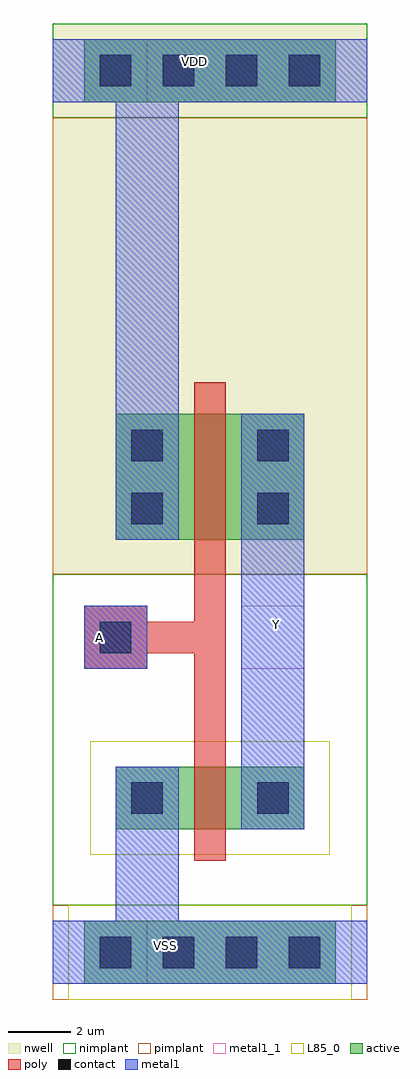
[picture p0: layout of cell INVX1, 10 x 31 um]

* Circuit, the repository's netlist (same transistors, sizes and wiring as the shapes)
* +++++++++++++++++++++++++++++++++++++++++++++++++++++++++ *
* CDL Netlist:                                              *
*                                                           *
* Cell Name  : INVX1                                        *
* Netlisted  : Sat Sep 25 10:26:10 2021                     *
* PVS Version: 16.15-s010 Fri Jun 28 22:24:07 PDT 2019      *
* +++++++++++++++++++++++++++++++++++++++++++++++++++++++++ *
*.LDD
*.DEVTMPLT 0 MN(nmos4) _nmos1v ndiff_conn(D) poly_conn(G) ndiff_conn(S) psubstrate(B)
*.DEVTMPLT 1 MP(pmos4) _pmos1v pdiff_conn(D) poly_conn(G) pdiff_conn(S) nwell_conn(B)

* +++++++++++++++++++++++++++++++++++++++++++++++++++++++++ *
* Sub cell: nmos4_CDNS_4                                    *
* +++++++++++++++++++++++++++++++++++++++++++++++++++++++++ *
.subckt nmos4_CDNS_4 1 2 3
** N=3 EP=3 FDC=1
M0 1 3 2 2 nmos4 L=1e-06 W=2e-06 AD=5e-12 AS=5e-12 PD=9e-06 PS=9e-06 fw=2e-06 sa=2e-06 sb=2e-06 $X=7000 $Y=2000 $dt=0
.ends nmos4_CDNS_4

* +++++++++++++++++++++++++++++++++++++++++++++++++++++++++ *
* Sub cell: pmos4_CDNS_5                                    *
* +++++++++++++++++++++++++++++++++++++++++++++++++++++++++ *
.subckt pmos4_CDNS_5 1 2 3
** N=3 EP=3 FDC=1
M0 1 3 2 2 pmos4 L=1e-06 W=4e-06 AD=1e-11 AS=1e-11 PD=1.3e-05 PS=1.3e-05 fw=4e-06 sa=2e-06 sb=2e-06 $X=7000 $Y=2000 $dt=1
.ends pmos4_CDNS_5

* +++++++++++++++++++++++++++++++++++++++++++++++++++++++++ *
* Sub cell: INVX1                                           *
* +++++++++++++++++++++++++++++++++++++++++++++++++++++++++ *
.subckt INVX1 A VDD VSS Y
** N=4 EP=4 FDC=2
X0 Y VSS A nmos4_CDNS_4 $T=2000 5800 0 0 $X=2000 $Y=5800
X1 Y VDD A pmos4_CDNS_5 $T=2000 24200 0 0 $X=2000 $Y=24200
.ends INVX1

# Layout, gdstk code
import gdstk
lib = gdstk.Library(unit=1e-6, precision=5e-10)
def R(c, l, rs):  # rectangles x0, y0, x1, y1
    for r in rs: c.add(gdstk.rectangle(r[:2], r[2:], *l))
def A(c, l, x, y, w, h, nx, ny, dx, dy):  # array of equal rectangles
    R(c, l, [(x+i*dx, y+j*dy, x+i*dx+w, y+j*dy+h) for i in range(nx) for j in range(ny)])
active = (1, 0)
nwell = (2, 0)
poly = (3, 0)
nimplant = (4, 0)
pimplant = (5, 0)
contact = (6, 0)
metal1 = (7, 0)
metal1_1 = (7, 1)
L85_0 = (85, 0)

nmos4_cdns_4 = lib.new_cell('nmos4_CDNS_4')
R(nmos4_cdns_4, active, [(1,1,7,3)])
R(nmos4_cdns_4, poly, [(3.5,0,4.5,4), (3.6,3.4,4.4,3.9)])
R(nmos4_cdns_4, nimplant, [(0,0,8,4)])
R(nmos4_cdns_4, contact, [(1.5,1.5,2.5,2.5), (5.5,1.5,6.5,2.5)])
R(nmos4_cdns_4, metal1, [(1,1,3,3), (5,1,7,3), (1.3,1.3,2.7,2.7), (5.3,1.3,6.7,2.7)])
R(nmos4_cdns_4, L85_0, [(0.2,0.2,7.8,3.8)])

pmos4_cdns_5 = lib.new_cell('pmos4_CDNS_5')
R(pmos4_cdns_5, active, [(1,1,7,5)])
R(pmos4_cdns_5, nwell, [(0.2,0.2,7.8,5.8)])
R(pmos4_cdns_5, poly, [(3.5,0,4.5,6), (3.6,5.5,4.4,5.9)])
R(pmos4_cdns_5, pimplant, [(0,0,8,6)])
R(pmos4_cdns_5, contact, [(1.5,1.5,2.5,2.5), (5.5,1.5,6.5,2.5), (1.5,3.5,2.5,4.5), (5.5,3.5,6.5,4.5)])
R(pmos4_cdns_5, metal1, [(1,1,3,5), (5,1,7,5), (1.3,1.3,2.7,2.7), (5.3,1.3,6.7,2.7)])

m1_psub_cdns_1 = lib.new_cell('M1_PSUB_CDNS_1')
R(m1_psub_cdns_1, active, [(-4,-1,4,1)])
R(m1_psub_cdns_1, pimplant, [(-4.5,-1.5,4.5,1.5)])
A(m1_psub_cdns_1, contact, -3.5, -0.5, 1, 1, 4, 1, 2, 0)
R(m1_psub_cdns_1, metal1, [(-4,-1,4,1)])
R(m1_psub_cdns_1, L85_0, [(-4.5,-1.5,4.5,1.5)])

m1_nwell_cdns_2 = lib.new_cell('M1_NWELL_CDNS_2')
R(m1_nwell_cdns_2, active, [(-4,-1,4,1)])
R(m1_nwell_cdns_2, nwell, [(-4.5,-1.5,4.5,1.5)])
R(m1_nwell_cdns_2, nimplant, [(-4.5,-1.5,4.5,1.5)])
A(m1_nwell_cdns_2, contact, -3.5, -0.5, 1, 1, 4, 1, 2, 0)
R(m1_nwell_cdns_2, metal1, [(-4,-1,4,1)])

m1_po_cdns_3 = lib.new_cell('M1_PO_CDNS_3')
R(m1_po_cdns_3, poly, [(-1,-1,1,1)])
R(m1_po_cdns_3, contact, [(-0.5,-0.5,0.5,0.5)])
R(m1_po_cdns_3, metal1, [(-1,-1,1,1)])

invx1 = lib.new_cell('INVX1')
R(invx1, nwell, [(0,12,10,29.5)])
R(invx1, nimplant, [(0,1.5,10,12), (0,26.5,10,29.5)])
R(invx1, pimplant, [(0,-1.5,10,1.5), (0,12,10,26.5)])
R(invx1, metal1, [(0,-1,10,1), (2,0,4,4.6), (6,5.5,8,13.5), (1,9,3,11), (2,16,4,28.5), (0,27,10,29)])
R(invx1, metal1_1, [(1,-1,3,1), (1,9,3,11), (6,9,8,11), (1,27,3,29)])
invx1.add(gdstk.FlexPath([(5,10),(2,10)], 1, ends=(0.5, 0), simple_path=True, layer=3, datatype=0))  # poly
invx1.add(gdstk.FlexPath([(5,10),(5,6.8)], 1, ends=(0.5, 0), simple_path=True, layer=3, datatype=0))  # poly
invx1.add(gdstk.FlexPath([(5,12.1),(5,10)], 1, ends=(0, 0.5), simple_path=True, layer=3, datatype=0))  # poly
invx1.add(gdstk.Reference(nmos4_cdns_4, (1,2.9)))
invx1.add(gdstk.Reference(pmos4_cdns_5, (1,12.1)))
invx1.add(gdstk.Reference(m1_psub_cdns_1, (5,0)))
invx1.add(gdstk.Reference(m1_nwell_cdns_2, (5,28)))
invx1.add(gdstk.Reference(m1_po_cdns_3, (2,10)))
invx1.add(gdstk.Label('A', (1.5,10), layer=7, texttype=0))
invx1.add(gdstk.Label('VSS', (3.6,0.2), layer=7, texttype=3))
invx1.add(gdstk.Label('Y', (7.1,10.4), layer=7, texttype=3))
invx1.add(gdstk.Label('VDD', (4.5,28.3), layer=7, texttype=3))

lib.write_gds('INVX1.gds')
